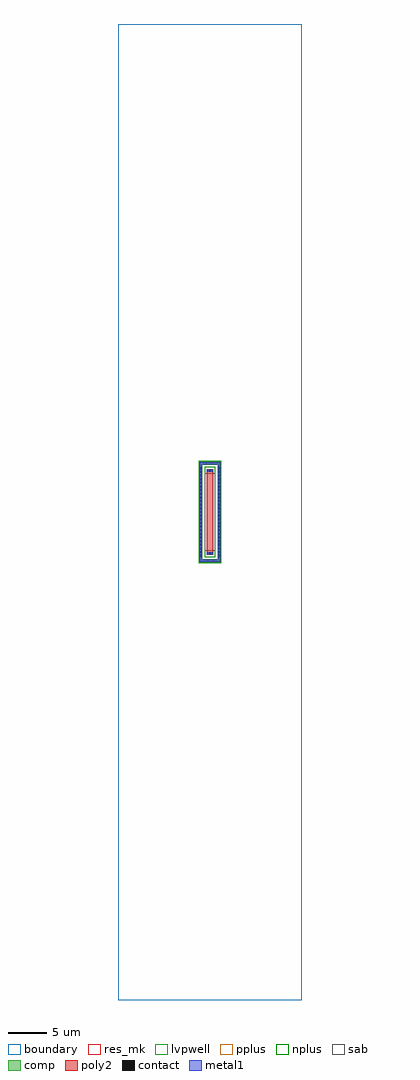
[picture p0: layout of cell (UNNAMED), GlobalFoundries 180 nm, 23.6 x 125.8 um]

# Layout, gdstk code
import gdstk
lib = gdstk.Library(unit=1e-6, precision=1e-09)
def R(c, l, rs):  # rectangles x0, y0, x1, y1
    for r in rs: c.add(gdstk.rectangle(r[:2], r[2:], *l))
def A(c, l, x, y, w, h, nx, ny, dx, dy):  # array of equal rectangles
    R(c, l, [(x+i*dx, y+j*dy, x+i*dx+w, y+j*dy+h) for i in range(nx) for j in range(ny)])
boundary = (0, 0)
comp = (22, 0)
poly2 = (30, 0)
pplus = (31, 0)
nplus = (32, 0)
contact = (33, 0)
metal1 = (34, 0)
sab = (49, 0)
res_mk = (110, 5)
lvpwell = (204, 0)

c__unnamed_ = lib.new_cell('(UNNAMED)')
R(c__unnamed_, boundary, [(-11.8,-62.9,11.8,62.9)])
R(c__unnamed_, comp, [(-1.36,-6.47,1.36,-6.11), (-1.36,-6.11,-1,6.11), (1,-6.11,1.36,6.11), (-1.36,6.11,1.36,6.47)])
R(c__unnamed_, poly2, [(-0.4,-5.51,0.4,5.51)])
R(c__unnamed_, pplus, [(-1.38,-6.49,1.38,-6.09), (-1.38,-6.09,-0.97,-5.985), (0.97,-6.09,1.38,-5.985), (-1.39,-5.985,-0.97,5.985), (0.97,-5.985,1.39,5.985), (-1.38,5.985,-0.97,6.09), (0.97,5.985,1.38,6.09), (-1.38,6.09,1.38,6.49)])
R(c__unnamed_, nplus, [(-0.7,-5.81,0.7,5.81)])
A(c__unnamed_, contact, -1.29, -5.75, 0.22, 0.22, 1, 25, 0, 0.47)
A(c__unnamed_, contact, 1.07, -5.75, 0.22, 0.22, 1, 25, 0, 0.47)
R(c__unnamed_, contact, [(-0.11,-5.44,0.11,-5.22), (-0.11,5.22,0.11,5.44)])
R(c__unnamed_, metal1, [(-1.295,-6.405,1.295,-6.175), (-1.295,-6.175,-1.065,6.175), (1.065,-6.175,1.295,6.175), (-0.39,-5.445,0.39,-5.215), (-0.39,5.215,0.39,5.445), (-1.295,6.175,1.295,6.405)])
R(c__unnamed_, sab, [(-0.68,-5,0.68,5)])
R(c__unnamed_, res_mk, [(-0.4,-5,0.4,5)])
R(c__unnamed_, lvpwell, [(-1.48,-6.59,1.48,6.59)])

lib.write_gds('_UNNAMED_.gds')
